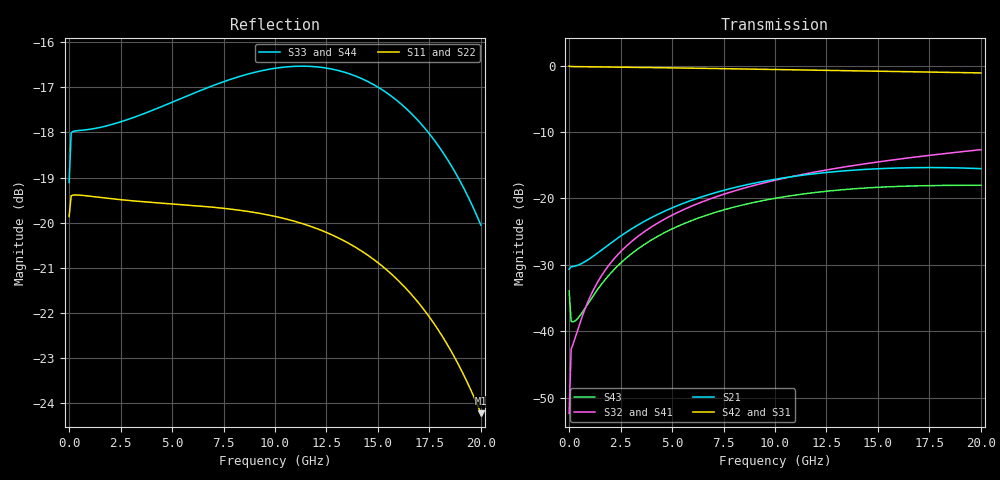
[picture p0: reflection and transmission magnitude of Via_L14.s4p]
! Touchstone file from project Param_Via_DOE_L14
! Exported from HFSS 13.0.1
# GHZ S MA R 85.000000
! Terminal data exported
! Port[1] = Port1
! Port[2] = Port2
! Port[3] = Port3
! Port[4] = Port4
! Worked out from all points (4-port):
!   201 points, 100 kHz to 20 GHz, reference 85 ohm
!   strongest paths, dB at 100 kHz, 5 GHz, 10 GHz, 15 GHz, 20 GHz:
!     S42: -0.1, -0.3, -0.6, -0.9, -1.1
!     S31: -0.1, -0.3, -0.6, -0.9, -1.1
!     S21: -30.7, -21.4, -17.1, -15.5, -15.5
!     S32: -52.4, -22.5, -17.3, -14.5, -12.7
!     S41: -52.3, -22.5, -17.3, -14.5, -12.7
!     S43: -33.9, -24.6, -20.0, -18.3, -18.0
!   lowest |S11| = -24.2 dB at 20 GHz (marker M1), VSWR 1.13, Z = 83.4 - j10.2 ohm
!   |S11| at or under -10 dB: start of sweep to end of sweep
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0.0001  0.1016 179.7  0.02927 1.2  0.9894 -0.1  0.002423 -145.9
        0.02926 1.2  0.1013 179.7  0.002402 -146.2  0.9894 -0.1
        0.9894 -0.1  0.00241 -145.7  0.1108 1.1  0.02011 174.5
        0.002415 -146.3  0.9894 -0.1  0.02012 174.5  0.1106 1.1
0.1001  0.1071 178.9  0.03059 2.3  0.9827 -1.1  0.007342 -164.5
        0.03059 2.3  0.1069 178.9  0.00733 -164.5  0.9827 -1.1
        0.9827 -1.1  0.00733 -164.5  0.1258 0.1  0.01184 168.2
        0.007342 -164.5  0.9827 -1.1  0.01184 168.2  0.1256 0.1
2.1001  0.1063 149.0  0.04702 27.3  0.9742 -20.5  0.03389 -126.7
        0.04702 27.3  0.1061 149.3  0.03387 -126.7  0.9743 -20.5
        0.9742 -20.5  0.03387 -126.7  0.1285 -11.8  0.02822 86.8
        0.03389 -126.7  0.9743 -20.5  0.02822 86.8  0.1282 -12.1
6.0001  0.1045 93.7  0.09741 11.5  0.9556 -57.8  0.08808 -158.8
        0.09741 11.5  0.1043 94.7  0.08811 -158.7  0.9558 -57.8
        0.9556 -57.8  0.08811 -158.7  0.139 -37.0  0.06857 32.0
        0.08808 -158.8  0.9558 -57.8  0.06857 32.0  0.1387 -37.8
9.5001  0.1022 46.0  0.1349 -16.8  0.9362 -90.9  0.1311 168.0
        0.1349 -16.8  0.102 47.5  0.1313 168.1  0.9362 -90.9
        0.9362 -90.9  0.1313 168.1  0.1476 -63.7  0.09687 -6.9
        0.1311 168.0  0.9362 -90.9  0.09687 -6.9  0.1478 -64.8
15.2001  0.08956 -28.7  0.1677 -67.2  0.9049 -144.6  0.1894 114.2
         0.1677 -67.2  0.08972 -26.2  0.19 114.2  0.9048 -144.6
         0.9049 -144.6  0.19 114.2  0.1404 -113.2  0.1216 -64.7
         0.1894 114.2  0.9048 -144.6  0.1216 -64.7  0.1424 -114.7
20.0001  0.06151 -95.6  0.1675 -109.2  0.8805 169.8  0.2318 69.5
         0.1675 -109.2  0.06155 -90.9  0.2327 69.3  0.8803 169.8
         0.8805 169.8  0.2327 69.3  0.09938 -160.3  0.1255 -107.6
         0.2318 69.5  0.8803 169.8  0.1255 -107.6  0.1035 -162.4
